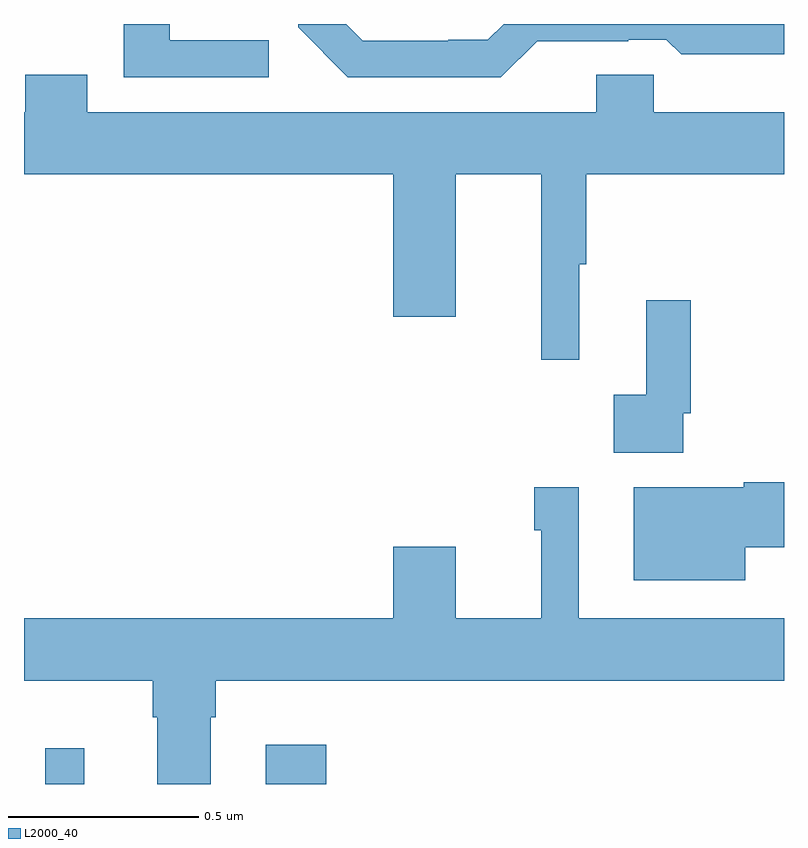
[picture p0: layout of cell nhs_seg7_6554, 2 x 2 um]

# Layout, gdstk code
import gdstk
lib = gdstk.Library(unit=1e-6, precision=1e-09)
def R(c, l, rs):  # rectangles x0, y0, x1, y1
    for r in rs: c.add(gdstk.rectangle(r[:2], r[2:], *l))
def P(c, l, *ps):  # polygons
    for p in ps: c.add(gdstk.Polygon(p, *l))
L2000_40 = (2000, 40)

nhs_seg7_6554 = lib.new_cell('nhs_seg7_6554')
R(nhs_seg7_6554, L2000_40, [(200.056,1011,200.159,1011.094), (200.636,1011,200.795,1011.103)])
P(nhs_seg7_6554, L2000_40, [(201.35,1012.955),(201.59,1012.955),(201.59,1012.959),(201.69,1012.959),(201.73,1012.92),(202,1012.92),(202,1013),(201.263,1013),(201.221,1012.958),(201.116,1012.958),(201.116,1012.956),(200.892,1012.956),(200.848,1013),(200.722,1013),(200.722,1012.991),(200.852,1012.86),(201.255,1012.86)],
  [(200.644,1012.957),(200.383,1012.957),(200.383,1013),(200.262,1013),(200.262,1012.86),(200.644,1012.86)],
  [(201.461,1012.368),(201.479,1012.368),(201.479,1012.604),(202,1012.604),(202,1012.768),(201.657,1012.768),(201.657,1012.866),(201.506,1012.866),(201.506,1012.768),(200.167,1012.768),(200.167,1012.867),(200.003,1012.867),(200.003,1012.768),(200,1012.768),(200,1012.604),(200.972,1012.604),(200.972,1012.23),(201.136,1012.23),(201.136,1012.604),(201.361,1012.604),(201.361,1012.116),(201.461,1012.116)],
  [(201.735,1011.976),(201.755,1011.976),(201.755,1012.273),(201.638,1012.273),(201.638,1012.025),(201.552,1012.025),(201.552,1011.872),(201.735,1011.872)],
  [(201.898,1011.623),(202,1011.623),(202,1011.794),(201.894,1011.794),(201.894,1011.781),(201.605,1011.781),(201.605,1011.536),(201.898,1011.536)],
  [(200.491,1011.176),(200.504,1011.176),(200.504,1011.272),(202,1011.272),(202,1011.436),(201.46,1011.436),(201.46,1011.781),(201.343,1011.781),(201.343,1011.668),(201.361,1011.668),(201.361,1011.436),(201.136,1011.436),(201.136,1011.625),(200.972,1011.625),(200.972,1011.436),(200,1011.436),(200,1011.272),(200.339,1011.272),(200.339,1011.176),(200.351,1011.176),(200.351,1011),(200.491,1011)])

lib.write_gds('nhs_seg7_6554.gds')
